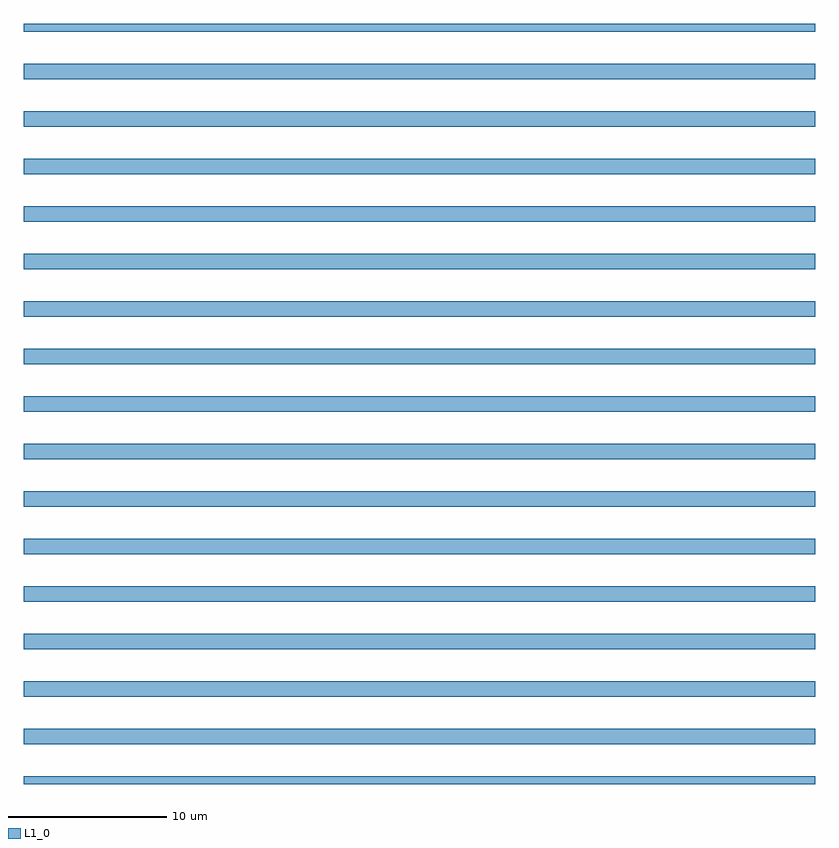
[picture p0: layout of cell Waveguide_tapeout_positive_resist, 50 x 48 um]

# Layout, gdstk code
import gdstk
lib = gdstk.Library(unit=1e-6, precision=1e-09)
def R(c, l, rs):  # rectangles x0, y0, x1, y1
    for r in rs: c.add(gdstk.rectangle(r[:2], r[2:], *l))
L1_0 = (1, 0)

waveguide_2000_nm = lib.new_cell('waveguide_2000_nm')
R(waveguide_2000_nm, L1_0, [(0,0.5,50,1), (0,3,50,3.5)])

waveguide_2000_nm_1 = lib.new_cell('waveguide_2000_nm$1')
R(waveguide_2000_nm_1, L1_0, [(0,3.5,50,4), (0,6,50,6.5)])

waveguide_2000_nm_2 = lib.new_cell('waveguide_2000_nm$2')
R(waveguide_2000_nm_2, L1_0, [(0,6.5,50,7), (0,9,50,9.5)])

waveguide_2000_nm_3 = lib.new_cell('waveguide_2000_nm$3')
R(waveguide_2000_nm_3, L1_0, [(0,9.5,50,10), (0,12,50,12.5)])

waveguide_2000_nm_4 = lib.new_cell('waveguide_2000_nm$4')
R(waveguide_2000_nm_4, L1_0, [(0,12.5,50,13), (0,15,50,15.5)])

waveguide_2000_nm_5 = lib.new_cell('waveguide_2000_nm$5')
R(waveguide_2000_nm_5, L1_0, [(0,15.5,50,16), (0,18,50,18.5)])

waveguide_2000_nm_6 = lib.new_cell('waveguide_2000_nm$6')
R(waveguide_2000_nm_6, L1_0, [(0,18.5,50,19), (0,21,50,21.5)])

waveguide_2000_nm_7 = lib.new_cell('waveguide_2000_nm$7')
R(waveguide_2000_nm_7, L1_0, [(0,21.5,50,22), (0,24,50,24.5)])

waveguide_2000_nm_8 = lib.new_cell('waveguide_2000_nm$8')
R(waveguide_2000_nm_8, L1_0, [(0,24.5,50,25), (0,27,50,27.5)])

waveguide_2000_nm_9 = lib.new_cell('waveguide_2000_nm$9')
R(waveguide_2000_nm_9, L1_0, [(0,27.5,50,28), (0,30,50,30.5)])

waveguide_2000_nm_10 = lib.new_cell('waveguide_2000_nm$10')
R(waveguide_2000_nm_10, L1_0, [(0,30.5,50,31), (0,33,50,33.5)])

waveguide_2000_nm_11 = lib.new_cell('waveguide_2000_nm$11')
R(waveguide_2000_nm_11, L1_0, [(0,33.5,50,34), (0,36,50,36.5)])

waveguide_2000_nm_12 = lib.new_cell('waveguide_2000_nm$12')
R(waveguide_2000_nm_12, L1_0, [(0,36.5,50,37), (0,39,50,39.5)])

waveguide_2000_nm_13 = lib.new_cell('waveguide_2000_nm$13')
R(waveguide_2000_nm_13, L1_0, [(0,39.5,50,40), (0,42,50,42.5)])

waveguide_2000_nm_14 = lib.new_cell('waveguide_2000_nm$14')
R(waveguide_2000_nm_14, L1_0, [(0,42.5,50,43), (0,45,50,45.5)])

waveguide_2000_nm_15 = lib.new_cell('waveguide_2000_nm$15')
R(waveguide_2000_nm_15, L1_0, [(0,45.5,50,46), (0,48,50,48.5)])

waveguide_tapeout_positi = lib.new_cell('Waveguide_tapeout_positive_resist')
waveguide_tapeout_positi.add(gdstk.Reference(waveguide_2000_nm, (0,0)))
waveguide_tapeout_positi.add(gdstk.Reference(waveguide_2000_nm_1, (0,0)))
waveguide_tapeout_positi.add(gdstk.Reference(waveguide_2000_nm_2, (0,0)))
waveguide_tapeout_positi.add(gdstk.Reference(waveguide_2000_nm_3, (0,0)))
waveguide_tapeout_positi.add(gdstk.Reference(waveguide_2000_nm_4, (0,0)))
waveguide_tapeout_positi.add(gdstk.Reference(waveguide_2000_nm_5, (0,0)))
waveguide_tapeout_positi.add(gdstk.Reference(waveguide_2000_nm_6, (0,0)))
waveguide_tapeout_positi.add(gdstk.Reference(waveguide_2000_nm_7, (0,0)))
waveguide_tapeout_positi.add(gdstk.Reference(waveguide_2000_nm_8, (0,0)))
waveguide_tapeout_positi.add(gdstk.Reference(waveguide_2000_nm_9, (0,0)))
waveguide_tapeout_positi.add(gdstk.Reference(waveguide_2000_nm_10, (0,0)))
waveguide_tapeout_positi.add(gdstk.Reference(waveguide_2000_nm_11, (0,0)))
waveguide_tapeout_positi.add(gdstk.Reference(waveguide_2000_nm_12, (0,0)))
waveguide_tapeout_positi.add(gdstk.Reference(waveguide_2000_nm_13, (0,0)))
waveguide_tapeout_positi.add(gdstk.Reference(waveguide_2000_nm_14, (0,0)))
waveguide_tapeout_positi.add(gdstk.Reference(waveguide_2000_nm_15, (0,0)))

lib.write_gds('Waveguide_tapeout_positive_resist.gds')
